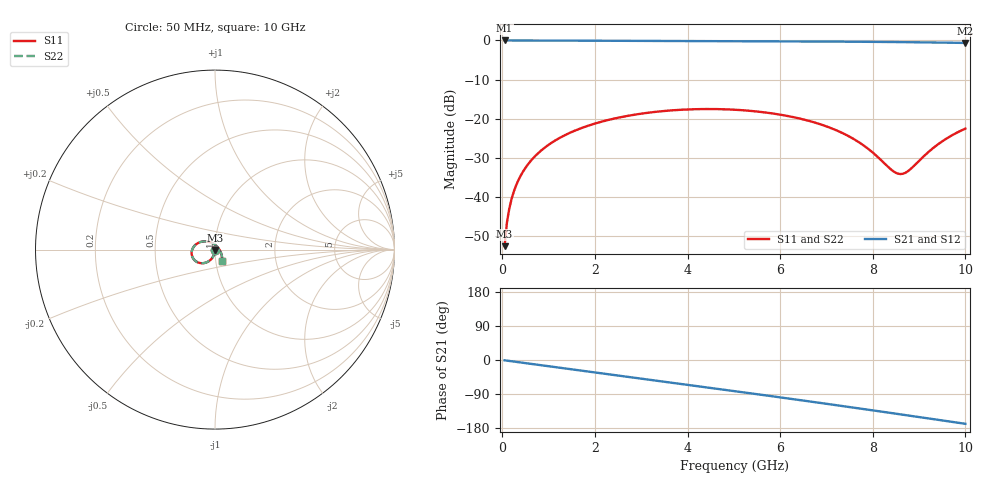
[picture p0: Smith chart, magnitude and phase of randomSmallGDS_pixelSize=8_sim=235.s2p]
! freq	dB(S11)	phase(S11)	dB(S12)	phase(S12)
!  dB(S21)	phase(S21)	dB(S22)	phase(S22)
!S-par simulation data
#  GHz  S  DB  R 50
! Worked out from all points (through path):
!   200 points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, 50 MHz to 10 GHz, reference 50 ohm
!   highest |S21| = 0.00 dB at 50 MHz (marker M1); lowest = -0.6 dB at 10 GHz (marker M2)
!   group delay of S21, straight-line fit = 46.5 ps
!   lowest |S11| = -52.6 dB at 50 MHz (marker M3), VSWR 1.00, Z = 50 - j0.234 ohm
!   |S11| at or under -10 dB: start of sweep to end of sweep
!   |S22| runs from -52.6 to -17.5 dB; largest |S21 - S12| = 0
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0.05  -52.63 -90.5  -0.00 -0.8  -0.00 -0.8  -52.63 -90.5
0.1  -46.61 -91.7  -0.00 -1.7  -0.00 -1.7  -46.61 -91.7
0.15  -43.08 -92.8  -0.00 -2.5  -0.00 -2.5  -43.08 -92.8
0.2  -40.57 -93.7  -0.00 -3.3  -0.00 -3.3  -40.57 -93.7
0.35  -35.69 -96.4  -0.01 -5.8  -0.01 -5.8  -35.69 -96.4
0.5  -32.59 -99.0  -0.01 -8.3  -0.01 -8.3  -32.59 -99.0
0.7  -29.70 -102.4  -0.02 -11.6  -0.02 -11.6  -29.70 -102.4
1  -26.69 -107.4  -0.03 -16.5  -0.03 -16.5  -26.69 -107.4
1.75  -22.24 -119.9  -0.06 -28.7  -0.06 -28.7  -22.24 -119.9
2.5  -19.77 -132.4  -0.09 -41.0  -0.09 -41.0  -19.77 -132.4
3.4  -18.15 -147.4  -0.13 -55.6  -0.13 -55.6  -18.15 -147.4
4.25  -17.56 -161.8  -0.17 -69.5  -0.17 -69.5  -17.56 -161.8
5.05  -17.74 -175.8  -0.20 -82.7  -0.20 -82.7  -17.74 -175.8
5.9  -18.79 168.5  -0.23 -96.9  -0.23 -96.9  -18.79 168.4
6.7  -20.84 152.1  -0.26 -110.4  -0.26 -110.4  -20.84 152.0
7.6  -25.30 127.8  -0.32 -125.9  -0.32 -125.9  -25.29 127.6
7.95  -28.19 112.6  -0.35 -132.0  -0.35 -132.0  -28.18 112.4
8.35  -32.55 79.6  -0.39 -139.0  -0.39 -139.0  -32.50 79.3
8.55  -34.10 49.9  -0.41 -142.6  -0.41 -142.6  -34.03 49.7
8.7  -33.88 24.3  -0.43 -145.2  -0.43 -145.2  -33.81 24.4
9.4  -26.65 -38.1  -0.53 -157.7  -0.53 -157.7  -26.63 -37.9
10  -22.55 -58.0  -0.63 -168.4  -0.63 -168.4  -22.54 -57.8
